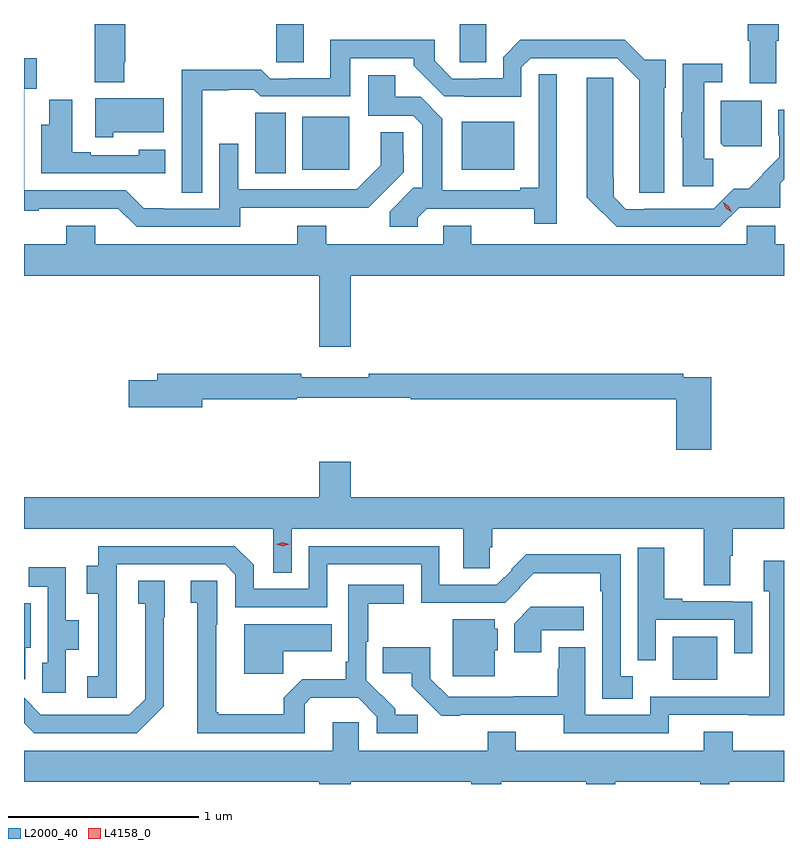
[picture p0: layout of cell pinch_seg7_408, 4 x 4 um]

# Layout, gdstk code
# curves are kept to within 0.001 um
import gdstk
lib = gdstk.Library(unit=1e-6, precision=1e-09)
def R(c, l, rs):  # rectangles x0, y0, x1, y1
    for r in rs: c.add(gdstk.rectangle(r[:2], r[2:], *l))
def P(c, l, *ps):  # polygons
    for p in ps: c.add(gdstk.Polygon(p, *l))
L2000_40 = (2000, 40)
L4158_0 = (4158, 0)

pinch_seg7_408 = lib.new_cell('pinch_seg7_408')
R(pinch_seg7_408, L2000_40, [(538.496,1015.805,538.729,1016.032), (536.297,1018.471,536.458,1018.79), (536.546,1018.49,536.794,1018.768), (537.386,1018.49,537.661,1018.741), (536.408,1019.056,536.554,1019.256), (537.374,1019.056,537.514,1019.256)])
P(pinch_seg7_408, L2000_40, [(539.041,1019.168),(539.054,1019.168),(539.054,1019.256),(538.889,1019.256),(538.889,1019.168),(538.901,1019.168),(538.901,1018.944),(539.041,1018.944)],
  [(535.608,1019.056),(535.613,1019.056),(535.613,1019.256),(535.453,1019.256),(535.453,1018.949),(535.608,1018.949)],
  [(536.02,1018.907),(536.159,1018.907),(536.159,1018.911),(536.29,1018.911),(536.326,1018.875),(536.797,1018.875),(536.797,1019.076),(537.132,1019.076),(537.132,1019.037),(537.294,1018.875),(537.699,1018.874),(537.699,1019.028),(537.747,1019.076),(538.203,1019.076),(538.319,1018.96),(538.319,1018.369),(538.45,1018.369),(538.45,1018.92),(538.459,1018.92),(538.459,1019.067),(538.348,1019.067),(538.243,1019.172),(537.693,1019.172),(537.603,1019.082),(537.603,1018.971),(537.478,1018.971),(537.478,1018.968),(537.336,1018.968),(537.242,1019.063),(537.242,1019.172),(536.693,1019.172),(536.693,1018.971),(536.476,1018.971),(536.476,1018.968),(536.376,1018.968),(536.33,1019.014),(535.91,1019.014),(535.91,1018.369),(536.02,1018.369)],
  [(536.218,1018.289),(536.893,1018.289),(536.977,1018.372),(536.976,1018.373),(537.079,1018.476),(537.078,1018.687),(536.958,1018.687),(536.958,1018.512),(536.832,1018.386),(536.209,1018.386),(536.209,1018.627),(536.108,1018.627),(536.108,1018.284),(535.816,1018.284),(535.816,1018.286),(535.712,1018.286),(535.617,1018.38),(535.083,1018.38),(535.083,1018.916),(535.147,1018.916),(535.147,1019.077),(535.081,1019.077),(535.081,1018.274),(535.158,1018.274),(535.158,1018.284),(535.578,1018.284),(535.674,1018.188),(536.218,1018.188)],
  [(538.708,1018.548),(538.66,1018.548),(538.66,1018.95),(538.756,1018.95),(538.756,1019.048),(538.547,1019.048),(538.547,1018.791),(538.541,1018.791),(538.541,1018.659),(538.547,1018.659),(538.547,1018.403),(538.708,1018.403)],
  [(537.154,1018.235),(537.202,1018.284),(537.766,1018.283),(537.766,1018.206),(537.886,1018.206),(537.886,1018.991),(537.789,1018.991),(537.789,1018.393),(537.692,1018.393),(537.692,1018.38),(537.283,1018.38),(537.283,1018.757),(537.168,1018.872),(537.034,1018.872),(537.034,1018.987),(536.894,1018.987),(536.894,1018.773),(537.129,1018.773),(537.177,1018.725),(537.176,1018.393),(537.13,1018.393),(537.006,1018.269),(537.006,1018.188),(537.154,1018.188)],
  [(538.845,1018.29),(539.06,1018.29),(539.06,1018.419),(539.081,1018.44),(539.081,1018.804),(539.052,1018.804),(539.052,1018.67),(539.055,1018.67),(539.055,1018.554),(538.966,1018.465),(538.968,1018.463),(538.895,1018.39),(538.816,1018.39),(538.71,1018.284),(538.348,1018.284),(538.348,1018.281),(538.248,1018.281),(538.184,1018.346),(538.183,1018.972),(538.043,1018.972),(538.043,1018.341),(538.046,1018.341),(538.123,1018.264),(538.124,1018.265),(538.202,1018.188),(538.743,1018.188)],
  [(535.551,1018.685),(535.816,1018.685),(535.816,1018.864),(535.455,1018.864),(535.455,1018.659),(535.551,1018.659)],
  [(535.825,1018.594),(535.686,1018.594),(535.686,1018.566),(535.432,1018.566),(535.432,1018.581),(535.336,1018.581),(535.336,1018.858),(535.214,1018.858),(535.214,1018.726),(535.172,1018.726),(535.172,1018.47),(535.825,1018.47)],
  [(538.963,1018.852),(538.748,1018.852),(538.748,1018.629),(538.764,1018.613),(538.963,1018.613)],
  [(536.8,1017.932),(539.081,1017.932),(539.081,1018.096),(539.036,1018.096),(539.036,1018.194),(538.884,1018.194),(538.884,1018.096),(537.435,1018.096),(537.435,1018.195),(537.287,1018.195),(537.287,1018.096),(536.673,1018.096),(536.673,1018.195),(536.518,1018.195),(536.518,1018.096),(535.456,1018.096),(535.456,1018.195),(535.304,1018.195),(535.304,1018.096),(535.081,1018.096),(535.081,1017.932),(536.636,1017.932),(536.636,1017.558),(536.8,1017.558)],
  [(538.697,1017.396),(538.55,1017.396),(538.55,1017.416),(536.896,1017.416),(536.896,1017.397),(536.54,1017.397),(536.54,1017.416),(535.781,1017.416),(535.781,1017.38),(535.632,1017.38),(535.632,1017.238),(536.02,1017.238),(536.02,1017.28),(536.516,1017.28),(536.516,1017.288),(537.116,1017.288),(537.116,1017.28),(538.514,1017.28),(538.514,1017.015),(538.697,1017.015)],
  [(538.798,1016.457),(538.811,1016.457),(538.811,1016.6),(539.081,1016.6),(539.081,1016.764),(536.8,1016.764),(536.8,1016.953),(536.636,1016.953),(536.636,1016.764),(535.081,1016.764),(535.081,1016.6),(536.394,1016.6),(536.394,1016.368),(536.49,1016.368),(536.49,1016.6),(537.392,1016.6),(537.392,1016.392),(537.531,1016.392),(537.531,1016.502),(537.545,1016.502),(537.545,1016.6),(538.658,1016.6),(538.658,1016.302),(538.798,1016.302)],
  [(538.285,1015.824),(538.221,1015.824),(538.221,1016.465),(537.725,1016.465),(537.645,1016.385),(537.648,1016.382),(537.57,1016.304),(537.267,1016.304),(537.267,1016.508),(536.58,1016.508),(536.58,1016.283),(536.289,1016.283),(536.289,1016.409),(536.19,1016.508),(535.472,1016.508),(535.472,1016.404),(535.412,1016.404),(535.412,1016.257),(535.473,1016.257),(535.473,1015.823),(535.413,1015.823),(535.413,1015.71),(535.57,1015.71),(535.57,1016.412),(536.139,1016.412),(536.193,1016.358),(536.193,1016.187),(536.676,1016.187),(536.676,1016.412),(537.171,1016.412),(537.171,1016.211),(537.615,1016.211),(537.693,1016.289),(537.691,1016.291),(537.765,1016.366),(538.113,1016.366),(538.113,1016.27),(538.125,1016.27),(538.125,1015.705),(538.285,1015.705)],
  [(538.407,1016.121),(538.818,1016.121),(538.818,1015.944),(538.913,1015.944),(538.913,1016.216),(538.811,1016.216),(538.811,1016.217),(538.546,1016.217),(538.546,1016.23),(538.45,1016.23),(538.45,1016.5),(538.31,1016.5),(538.31,1016.224),(538.311,1016.224),(538.311,1015.908),(538.407,1015.908)],
  [(538.475,1015.62),(539.081,1015.619),(539.081,1016.431),(538.974,1016.431),(538.974,1016.271),(539.004,1016.271),(539.004,1015.716),(538.377,1015.716),(538.377,1015.62),(538.036,1015.62),(538.036,1015.975),(537.896,1015.975),(537.896,1015.862),(537.889,1015.862),(537.889,1015.719),(537.655,1015.719),(537.655,1015.716),(537.418,1015.716),(537.418,1015.714),(537.317,1015.714),(537.22,1015.811),(537.22,1015.977),(536.968,1015.977),(536.968,1015.84),(537.123,1015.84),(537.123,1015.771),(537.277,1015.616),(537.376,1015.616),(537.376,1015.62),(537.923,1015.62),(537.923,1015.524),(538.475,1015.524)],
  [(535.302,1015.963),(535.369,1015.963),(535.369,1016.118),(535.302,1016.118),(535.302,1016.398),(535.107,1016.398),(535.107,1016.294),(535.206,1016.294),(535.206,1015.893),(535.177,1015.893),(535.177,1015.737),(535.302,1015.737)],
  [(535.817,1015.665),(535.817,1016.133),(535.822,1016.133),(535.822,1016.327),(535.682,1016.327),(535.682,1016.204),(535.718,1016.204),(535.718,1015.703),(535.635,1015.62),(535.17,1015.62),(535.081,1015.709),(535.081,1015.577),(535.134,1015.524),(535.675,1015.524)],
  [(536.558,1015.676),(536.591,1015.709),(536.839,1015.709),(536.937,1015.611),(536.937,1015.524),(537.153,1015.524),(537.153,1015.62),(537.034,1015.62),(537.034,1015.652),(536.883,1015.803),(536.883,1016.006),(536.892,1016.006),(536.892,1016.206),(537.079,1016.206),(537.079,1016.304),(536.787,1016.304),(536.787,1015.9),(536.775,1015.9),(536.775,1015.807),(536.545,1015.807),(536.448,1015.71),(536.448,1015.622),(536.104,1015.622),(536.104,1015.633),(536.092,1015.633),(536.092,1016.094),(536.097,1016.094),(536.097,1016.327),(535.958,1016.327),(535.958,1016.21),(535.994,1016.21),(535.994,1015.524),(536.558,1015.524)],
  [(535.087,1015.973),(535.117,1015.973),(535.117,1016.208),(535.081,1016.208),(535.081,1015.807),(535.087,1015.807)],
  [(537.804,1016.064),(538.027,1016.064),(538.027,1016.188),(537.748,1016.188),(537.66,1016.099),(537.66,1015.95),(537.804,1015.95)],
  [(537.559,1015.959),(537.574,1015.959),(537.574,1016.073),(537.559,1016.073),(537.559,1016.122),(537.338,1016.122),(537.338,1015.823),(537.559,1015.823)],
  [(536.445,1015.955),(536.702,1015.955),(536.702,1016.098),(536.24,1016.098),(536.24,1015.835),(536.445,1015.835)],
  [(538.658,1015.531),(538.658,1015.432),(537.67,1015.432),(537.67,1015.531),(537.523,1015.531),(537.523,1015.432),(536.844,1015.432),(536.844,1015.582),(536.705,1015.582),(536.705,1015.432),(535.081,1015.432),(535.081,1015.268),(536.636,1015.268),(536.636,1015.256),(536.8,1015.256),(536.8,1015.268),(537.434,1015.268),(537.434,1015.256),(537.594,1015.256),(537.594,1015.268),(538.039,1015.268),(538.039,1015.256),(538.194,1015.256),(538.194,1015.268),(538.639,1015.268),(538.639,1015.256),(538.794,1015.256),(538.794,1015.268),(539.081,1015.268),(539.081,1015.432),(538.811,1015.432),(538.811,1015.531)])
P(pinch_seg7_408, L4158_0, [(538.805,1018.265),(538.775,1018.285),(538.761,1018.318),(538.761,1018.318),(538.761,1018.318),(538.791,1018.298),(538.805,1018.266),(538.805,1018.265)],
  [(536.443,1016.508),(536.408,1016.519),(536.408,1016.519),(536.408,1016.519),(536.443,1016.528),(536.478,1016.518),(536.478,1016.518),(536.478,1016.518)])

lib.write_gds('pinch_seg7_408.gds')
